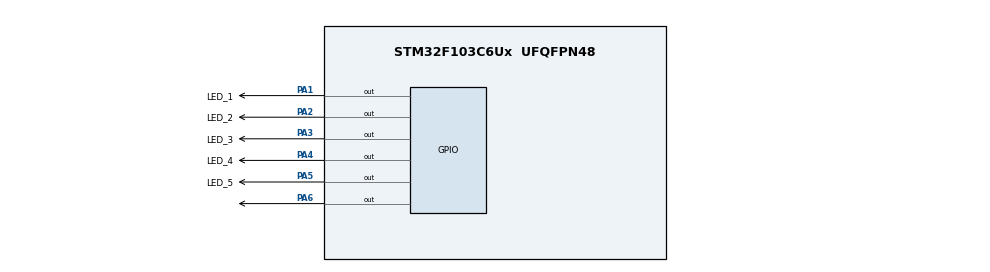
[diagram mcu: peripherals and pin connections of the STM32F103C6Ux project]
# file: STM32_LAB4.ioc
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Mcu.Family=STM32F1
Mcu.Name=STM32F103C6Ux
Mcu.Package=UFQFPN48
NVIC.PriorityGroup=NVIC_PRIORITYGROUP_4
NVIC.TIM2_IRQn=true\:0\:0\:false\:false\:true\:true\:true
PA1.GPIO_Label=LED_1
PA1.Signal=GPIO_Output
PA2.GPIO_Label=LED_2
PA2.Signal=GPIO_Output
PA3.GPIO_Label=LED_3
PA3.Signal=GPIO_Output
PA4.GPIO_Label=LED_4
PA4.Signal=GPIO_Output
PA5.GPIO_Label=LED_5
PA5.Signal=GPIO_Output
PA6.Signal=GPIO_Output
ProjectManager.HeapSize=0x200
ProjectManager.StackSize=0x400
ProjectManager.TargetToolchain=STM32CubeIDE
RCC.APB1Freq_Value=8000000
RCC.APB2Freq_Value=8000000
TIM2.Period=9
TIM2.Prescaler=7999
VP_SYS_VS_ND.Mode=No_Debug
VP_TIM2_VS_ClockSourceINT.Mode=Internal
board=custom

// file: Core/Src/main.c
/* USER CODE BEGIN Header */
/**
  ******************************************************************************
  * @file           : main.c
  * @brief          : Main program body
  ******************************************************************************
  * @attention
  *
  * <h2><center>&copy; Copyright (c) 2023 STMicroelectronics.
  * All rights reserved.</center></h2>
  *
  * This software component is licensed by ST under BSD 3-Clause license,
  * the "License"; You may not use this file except in compliance with the
  * License. You may obtain a copy of the License at:
  *                        opensource.org/licenses/BSD-3-Clause
  *
  ******************************************************************************
  */
/* USER CODE END Header */
#include "main.h"

/* USER CODE BEGIN Includes */
#include "scheduler.h"
/* USER CODE END Includes */

TIM_HandleTypeDef htim2;

void SystemClock_Config(void);
static void MX_GPIO_Init(void);
static void MX_TIM2_Init(void);

/* USER CODE BEGIN 0 */
void ToggleLED1(){
	HAL_GPIO_TogglePin(LED_1_GPIO_Port, LED_1_Pin);
}
void ToggleLED2(){
	HAL_GPIO_TogglePin(LED_2_GPIO_Port, LED_2_Pin);
}
void ToggleLED3(){
	HAL_GPIO_TogglePin(LED_3_GPIO_Port, LED_3_Pin);
}
void ToggleLED4(){
	HAL_GPIO_TogglePin(LED_4_GPIO_Port, LED_4_Pin);
}
void ToggleLED5(){
	HAL_GPIO_TogglePin(LED_5_GPIO_Port, LED_5_Pin);
}
/* USER CODE END 0 */

int main(void)
{

  /* MCU Configuration--------------------------------------------------------*/

  /* Reset of all peripherals, Initializes the Flash interface and the Systick. */
  HAL_Init();

  /* Configure the system clock */
  SystemClock_Config();

  /* Initialize all configured peripherals */
  MX_GPIO_Init();
  MX_TIM2_Init();
  /* USER CODE BEGIN 2 */
  HAL_TIM_Base_Start_IT(&htim2);
  /* USER CODE END 2 */

  /* Infinite loop */
  /* USER CODE BEGIN WHILE */
  SCH_Init();
  SCH_Add_Task(ToggleLED1, 2000, 500);
  SCH_Add_Task(ToggleLED2, 1000, 1000);
  SCH_Add_Task(ToggleLED3, 1000, 0);			 // one shot task
  SCH_Add_Task(ToggleLED4, 1500, 1200);
  SCH_Add_Task(ToggleLED5, 1500, 2500);
  while (1)
  {
	  SCH_Dispatch_Tasks();
    /* USER CODE END WHILE */

  }
}

void SystemClock_Config(void)
{
  RCC_OscInitTypeDef RCC_OscInitStruct = {0};
  RCC_ClkInitTypeDef RCC_ClkInitStruct = {0};

  /** Initializes the RCC Oscillators according to the specified parameters
  * in the RCC_OscInitTypeDef structure.
  */
  RCC_OscInitStruct.OscillatorType = RCC_OSCILLATORTYPE_HSI;
  RCC_OscInitStruct.HSIState = RCC_HSI_ON;
  RCC_OscInitStruct.HSICalibrationValue = RCC_HSICALIBRATION_DEFAULT;
  RCC_OscInitStruct.PLL.PLLState = RCC_PLL_NONE;
  if (HAL_RCC_OscConfig(&RCC_OscInitStruct) != HAL_OK)
  {
    Error_Handler();
  }
  /** Initializes the CPU, AHB and APB buses clocks
  */
  RCC_ClkInitStruct.ClockType = RCC_CLOCKTYPE_HCLK|RCC_CLOCKTYPE_SYSCLK
                              |RCC_CLOCKTYPE_PCLK1|RCC_CLOCKTYPE_PCLK2;
  RCC_ClkInitStruct.SYSCLKSource = RCC_SYSCLKSOURCE_HSI;
  RCC_ClkInitStruct.AHBCLKDivider = RCC_SYSCLK_DIV1;
  RCC_ClkInitStruct.APB1CLKDivider = RCC_HCLK_DIV1;
  RCC_ClkInitStruct.APB2CLKDivider = RCC_HCLK_DIV1;

  if (HAL_RCC_ClockConfig(&RCC_ClkInitStruct, FLASH_LATENCY_0) != HAL_OK)
  {
    Error_Handler();
  }
}

static void MX_TIM2_Init(void)
{

  TIM_ClockConfigTypeDef sClockSourceConfig = {0};
  TIM_MasterConfigTypeDef sMasterConfig = {0};

  htim2.Instance = TIM2;
  htim2.Init.Prescaler = 7999;
  htim2.Init.CounterMode = TIM_COUNTERMODE_UP;
  htim2.Init.Period = 9;
  htim2.Init.ClockDivision = TIM_CLOCKDIVISION_DIV1;
  htim2.Init.AutoReloadPreload = TIM_AUTORELOAD_PRELOAD_DISABLE;
  if (HAL_TIM_Base_Init(&htim2) != HAL_OK)
  {
    Error_Handler();
  }
  sClockSourceConfig.ClockSource = TIM_CLOCKSOURCE_INTERNAL;
  if (HAL_TIM_ConfigClockSource(&htim2, &sClockSourceConfig) != HAL_OK)
  {
    Error_Handler();
  }
  sMasterConfig.MasterOutputTrigger = TIM_TRGO_RESET;
  sMasterConfig.MasterSlaveMode = TIM_MASTERSLAVEMODE_DISABLE;
  if (HAL_TIMEx_MasterConfigSynchronization(&htim2, &sMasterConfig) != HAL_OK)
  {
    Error_Handler();
  }

}

static void MX_GPIO_Init(void)
{
  GPIO_InitTypeDef GPIO_InitStruct = {0};

  /* GPIO Ports Clock Enable */
  __HAL_RCC_GPIOA_CLK_ENABLE();

  /*Configure GPIO pin Output Level */
  HAL_GPIO_WritePin(GPIOA, LED_1_Pin|LED_2_Pin|LED_3_Pin|LED_4_Pin
                          |LED_5_Pin, GPIO_PIN_RESET);

  /*Configure GPIO pins : LED_1_Pin LED_2_Pin LED_3_Pin LED_4_Pin
                           LED_5_Pin */
  GPIO_InitStruct.Pin = LED_1_Pin|LED_2_Pin|LED_3_Pin|LED_4_Pin
                          |LED_5_Pin;
  GPIO_InitStruct.Mode = GPIO_MODE_OUTPUT_PP;
  GPIO_InitStruct.Pull = GPIO_NOPULL;
  GPIO_InitStruct.Speed = GPIO_SPEED_FREQ_LOW;
  HAL_GPIO_Init(GPIOA, &GPIO_InitStruct);

}

/* USER CODE BEGIN 4 */
int counter = 100;
void HAL_TIM_PeriodElapsedCallback(TIM_HandleTypeDef *htim)
{
	SCH_Update();
}
/* USER CODE END 4 */

void Error_Handler(void)
{
  __disable_irq();
  while (1)
  {
  }
}

/************************ (C) COPYRIGHT STMicroelectronics *****END OF FILE****/
